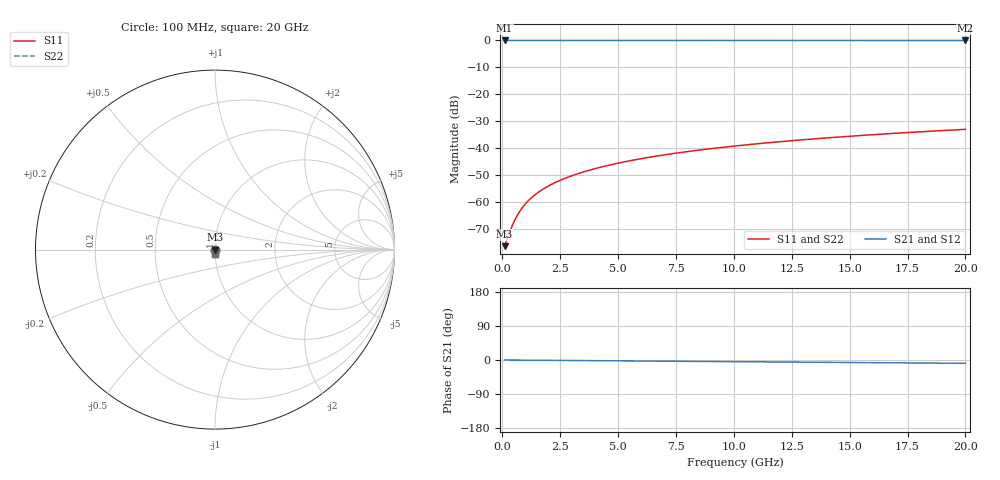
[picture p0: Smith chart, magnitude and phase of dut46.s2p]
! Touchstone file exported from HFSS 2026.1.0
!  File:  C:/ffzhzh/LocalFiles/Ansys_Project_Files/temp_train_TSV_46_1782958690_45748.aedt
!  Generated:  10:19:43 AM Jul  2, 2026
!  Design:  TSV
!  Project:  temp_train_TSV_46_1782958690_45748
! Variables:
!  h_bsmrdl = 2um
!  h_ox = 20um
!  h_rdl = 5um
!  h_sub = 90.76um
!  h_tmrdl = 5um
!  h_tsv = 90.76um
!  h_via = 3um
!  l_bsmrdl = 300um
!  l_sub = 420.62um
!  l_tmrdl = 200um
!  m_sub = 200um
!  pitch = 36.14um
!  r_tsv = 10.31um
!  s_tmrdl = 10um
!  w_bsmrdl = 18um
!  w_sub = 500um
!  w_tmrdl = 12um
!  x_tsv_center1 = 206um
!  x_tsv_center2 = 524um
!  x_tsv_center3 = 736um
!  x_tsv_center4 = 1054um
!  x_tsv_center5 = 1266um
!  x_tsv_center6 = 1584um
# GHz S MA R 50.000000
! Terminal data exported
! Port[1] = TSV1_1_T1
! Port[2] = TSV1_1_T2
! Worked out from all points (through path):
!   200 points, 100 MHz to 20 GHz, reference 50 ohm
!   highest |S21| = 0.00 dB at 100 MHz (marker M1); lowest = 0.0 dB at 20 GHz (marker M2)
!   group delay of S21, straight-line fit = 1.21 ps
!   lowest |S11| = -76.4 dB at 100 MHz (marker M3), VSWR 1.00, Z = 50 - j0.00607 ohm
!   |S11| at or under -10 dB: start of sweep to end of sweep
!   |S22| runs from -76.4 to -33.0 dB; largest |S21 - S12| = 3.2e-15
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0.1  0.0001512 -23.7  0.9999 -0.0  0.9999 -0.0  0.0001512 -23.7
! Gamma 0 0 0 0
! Port Impedance 50 0 50 0
0.3  0.0002627 -48.1  0.9998 -0.1  0.9998 -0.1  0.0002627 -48.1
0.4  0.0003399 -53.6  0.9998 -0.2  0.9998 -0.2  0.0003399 -53.6
0.5  0.0004262 -57.4  0.9998 -0.2  0.9998 -0.2  0.0004262 -57.4
0.6  0.000519 -60.3  0.9997 -0.3  0.9997 -0.3  0.000519 -60.3
0.7  0.0006165 -62.7  0.9997 -0.3  0.9997 -0.3  0.0006165 -62.7
0.9  0.0008202 -66.5  0.9997 -0.4  0.9997 -0.4  0.0008202 -66.5
1.2  0.001136 -70.6  0.9996 -0.5  0.9996 -0.5  0.001136 -70.6
1.4  0.001349 -72.7  0.9996 -0.6  0.9996 -0.6  0.001349 -72.7
1.6  0.001563 -74.3  0.9996 -0.7  0.9996 -0.7  0.001563 -74.3
2.1  0.002099 -77.4  0.9995 -0.9  0.9995 -0.9  0.002099 -77.4
2.7  0.002745 -79.7  0.9994 -1.2  0.9994 -1.2  0.002745 -79.7
3.5  0.003613 -81.8  0.9994 -1.6  0.9994 -1.6  0.003613 -81.8
4.2  0.00438 -83.0  0.9993 -1.9  0.9993 -1.9  0.00438 -83.0
5  0.005265 -84.2  0.9993 -2.2  0.9993 -2.2  0.005265 -84.2
5.9  0.00627 -85.3  0.9992 -2.6  0.9992 -2.6  0.00627 -85.3
6.8  0.007283 -86.2  0.9991 -3.0  0.9991 -3.0  0.007282 -86.2
8.3  0.00898 -87.5  0.999 -3.7  0.999 -3.7  0.00898 -87.5
10.1  0.01103 -89.0  0.9989 -4.4  0.9989 -4.4  0.01103 -89.0
13.4  0.0148 -91.2  0.9987 -5.9  0.9987 -5.9  0.01479 -91.2
16.7  0.01858 -93.1  0.9985 -7.3  0.9985 -7.3  0.01858 -93.2
20  0.02237 -94.9  0.9983 -8.8  0.9983 -8.8  0.02237 -94.9
